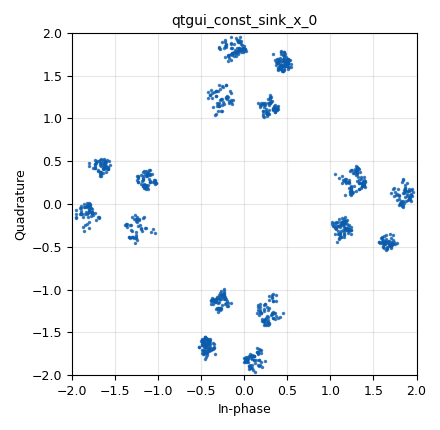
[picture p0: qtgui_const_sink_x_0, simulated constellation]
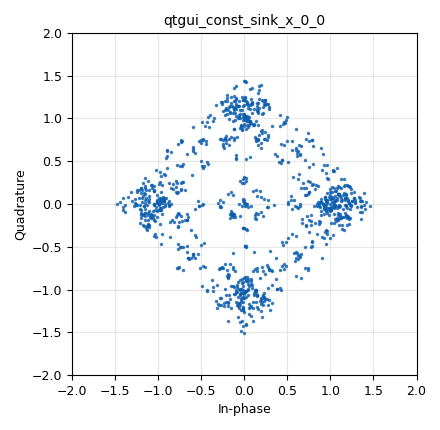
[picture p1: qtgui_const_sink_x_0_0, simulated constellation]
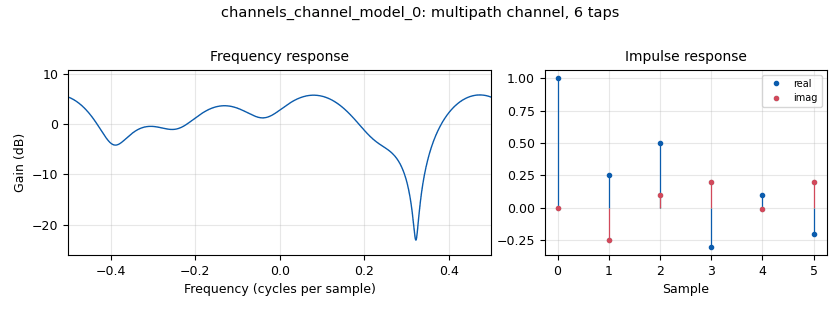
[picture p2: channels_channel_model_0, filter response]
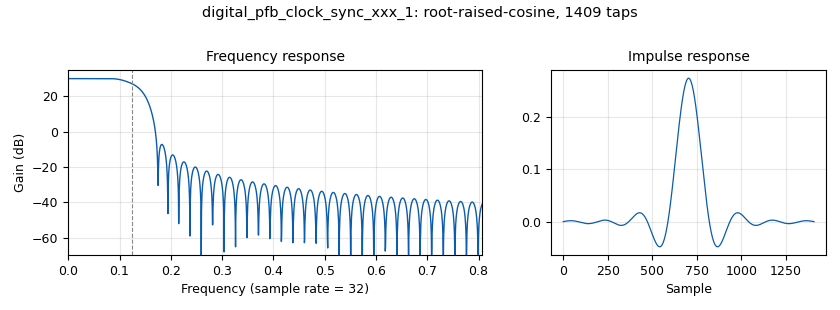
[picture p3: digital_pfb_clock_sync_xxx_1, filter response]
options:
  parameters:
    author: tripp
    generate_options: qt_gui
    id: SimulatingChannela
    output_language: python
    title: Simulating Channel
  states: {}

blocks:
- name: arity
  id: variable
  parameters:
    value: '4'
  states: {}
- name: freq_offset
  id: variable_qtgui_range
  parameters:
    label: Channel Frequency Offset
    orient: Qt.Horizontal
    start: '-0.1'
    step: '0.001'
    stop: '0.1'
    value: '0'
  states: {}
- name: nfilts
  id: variable
  parameters:
    value: '32'
  states: {}
- name: noise_volt
  id: variable_qtgui_range
  parameters:
    label: Channel Noise Voltage
    orient: Qt.Horizontal
    start: '0'
    step: '0.01'
    stop: '1'
    value: '0.0001'
  states: {}
- name: rrc_taps
  id: variable
  parameters:
    value: firdes.root_raised_cosine(nfilts, nfilts, 1.0/float(sps), 0.35, 11*sps*nfilts)
  states: {}
- name: samp_rate
  id: variable
  parameters:
    value: '32000'
  states: {}
- name: sps
  id: variable
  parameters:
    value: '4'
  states: {}
- name: taps
  id: variable
  parameters:
    value: '[1.0, 0.25-0.25j, 0.5+0.1j, -0.3+0.2j, 0.1-0.01j, -0.2+0.2j]'
  states: {}
- name: time_offset
  id: variable_qtgui_range
  parameters:
    label: 'Channel: Timing Offset'
    orient: Qt.Horizontal
    start: '0.999'
    step: '0.0001'
    stop: '1.001'
    value: '1'
  states: {}
- name: timing_loop_bw
  id: variable_qtgui_range
  parameters:
    gui_hint: 3,1,1,1
    label: 'Time: BW'
    orient: Qt.Horizontal
    start: '0.0'
    step: '0.005'
    stop: '0.2'
    value: 6.28/100.0
  states: {}
- name: analog_random_source_x_0
  id: analog_random_source_x
  parameters:
    max: '256'
    min: '0'
    num_samps: '1000'
    repeat: 'True'
    type: byte
  states: {}
- name: blocks_throttle_0
  id: blocks_throttle
  parameters:
    samples_per_second: samp_rate
    type: complex
  states: {}
- name: channels_channel_model_0
  id: channels_channel_model
  parameters:
    epsilon: time_offset
    freq_offset: freq_offset
    noise_voltage: noise_volt
    seed: '0'
    taps: taps
  states: {}
- name: digital_pfb_clock_sync_xxx_1
  id: digital_pfb_clock_sync_xxx
  parameters:
    filter_size: '32'
    init_phase: '16'
    loop_bw: timing_loop_bw
    max_dev: '1.5'
    osps: '1'
    sps: sps
    taps: rrc_taps
    type: ccf
  states: {}
- name: digital_psk_mod_0
  id: digital_psk_mod
  parameters:
    constellation_points: '4'
    differential: 'False'
    excess_bw: '0.35'
    mod_code: '"none"'
    samples_per_symbol: '4'
  states: {}
- name: qtgui_const_sink_x_0
  id: qtgui_const_sink_x
  parameters:
    size: '1024'
    type: complex
  states: {}
- name: qtgui_const_sink_x_0_0
  id: qtgui_const_sink_x
  parameters:
    size: '1024'
    type: complex
  states: {}

connections:
- [analog_random_source_x_0, '0', digital_psk_mod_0, '0']
- [blocks_throttle_0, '0', channels_channel_model_0, '0']
- [blocks_throttle_0, '0', qtgui_const_sink_x_0_0, '0']
- [channels_channel_model_0, '0', digital_pfb_clock_sync_xxx_1, '0']
- [digital_pfb_clock_sync_xxx_1, '0', qtgui_const_sink_x_0, '0']
- [digital_psk_mod_0, '0', blocks_throttle_0, '0']

metadata:
  file_format: 1
